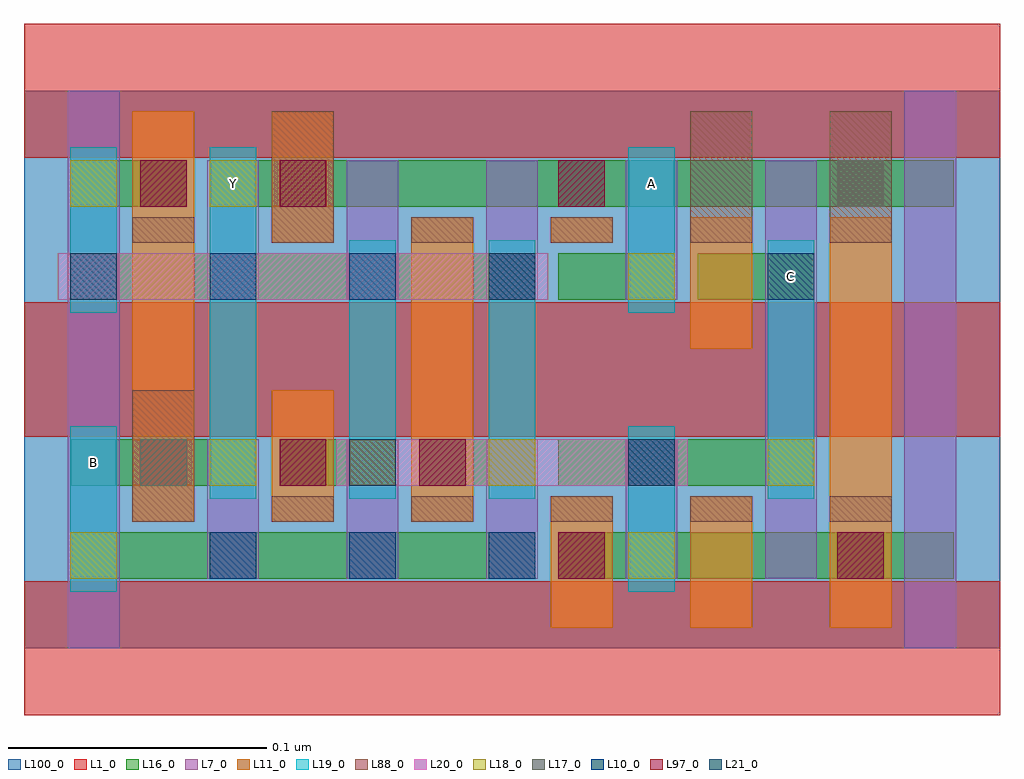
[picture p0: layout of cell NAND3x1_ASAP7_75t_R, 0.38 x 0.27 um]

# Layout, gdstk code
import gdstk
lib = gdstk.Library(unit=1e-6, precision=2.5e-10)
def R(c, l, rs):  # rectangles x0, y0, x1, y1
    for r in rs: c.add(gdstk.rectangle(r[:2], r[2:], *l))
def A(c, l, x, y, w, h, nx, ny, dx, dy):  # array of equal rectangles
    R(c, l, [(x+i*dx, y+j*dy, x+i*dx+w, y+j*dy+h) for i in range(nx) for j in range(ny)])
L1_0 = (1, 0)
L7_0 = (7, 0)
L10_0 = (10, 0)
L11_0 = (11, 0)
L16_0 = (16, 0)
L17_0 = (17, 0)
L18_0 = (18, 0)
L19_0 = (19, 0)
L20_0 = (20, 0)
L21_0 = (21, 0)
L88_0 = (88, 0)
L97_0 = (97, 0)
L100_0 = (100, 0)

nand3x1_asap7_75t_r = lib.new_cell('NAND3x1_ASAP7_75t_R')
A(nand3x1_asap7_75t_r, L1_0, 0, -0.026, 0.378, 0.052, 1, 3, 0, 0.108)
A(nand3x1_asap7_75t_r, L7_0, 0.071, 0.027, 0.02, 0.054, 4, 2, 0.054, 0.108)
R(nand3x1_asap7_75t_r, L7_0, [(0.017,0,0.037,0.108), (0.341,0,0.361,0.108), (0.287,0.027,0.307,0.108), (0.017,0.108,0.037,0.216), (0.287,0.108,0.307,0.189), (0.341,0.108,0.361,0.216)])
A(nand3x1_asap7_75t_r, L10_0, 0.072, 0.027, 0.018, 0.018, 3, 2, 0.054, 0.108)
R(nand3x1_asap7_75t_r, L10_0, [(0.234,0.063,0.252,0.081), (0.288,0.135,0.306,0.153)])
R(nand3x1_asap7_75t_r, L11_0, [(0.204,0.008,0.228,0.059), (0.258,0.008,0.282,0.059), (0.312,0.008,0.336,0.108), (0.042,0.049,0.066,0.108), (0.096,0.049,0.12,0.1), (0.15,0.049,0.174,0.108), (0.042,0.108,0.066,0.208), (0.15,0.108,0.174,0.167), (0.312,0.108,0.336,0.167), (0.258,0.116,0.282,0.167), (0.096,0.157,0.12,0.208), (0.204,0.157,0.228,0.167)])
R(nand3x1_asap7_75t_r, L16_0, [(0.018,0.027,0.198,0.045), (0.207,0.027,0.36,0.045), (0.018,0.063,0.09,0.081), (0.099,0.063,0.144,0.081), (0.153,0.063,0.198,0.081), (0.207,0.063,0.306,0.081), (0.018,0.135,0.198,0.153), (0.207,0.135,0.252,0.153), (0.261,0.135,0.306,0.153), (0.018,0.171,0.063,0.189), (0.072,0.171,0.36,0.189)])
A(nand3x1_asap7_75t_r, L17_0, 0.045, 0.063, 0.018, 0.018, 3, 1, 0.054, 0)
A(nand3x1_asap7_75t_r, L17_0, 0.099, 0.171, 0.018, 0.018, 3, 1, 0.108, 0)
R(nand3x1_asap7_75t_r, L17_0, [(0.207,0.027,0.225,0.045), (0.315,0.027,0.333,0.045), (0.045,0.171,0.063,0.189)])
A(nand3x1_asap7_75t_r, L18_0, 0.072, 0.063, 0.018, 0.018, 3, 1, 0.054, 0)
R(nand3x1_asap7_75t_r, L18_0, [(0.018,0.027,0.036,0.045), (0.234,0.027,0.252,0.045), (0.288,0.063,0.306,0.081), (0.234,0.135,0.252,0.153), (0.288,0.135,0.306,0.153), (0.018,0.171,0.036,0.189), (0.072,0.171,0.09,0.189)])
R(nand3x1_asap7_75t_r, L19_0, [(0.018,0.022,0.036,0.086), (0.234,0.022,0.252,0.086), (0.072,0.058,0.09,0.194), (0.126,0.058,0.144,0.158), (0.18,0.058,0.198,0.158), (0.288,0.058,0.306,0.158), (0.018,0.13,0.036,0.194), (0.234,0.13,0.252,0.194)])
R(nand3x1_asap7_75t_r, L20_0, [(0.121,0.063,0.257,0.081), (0.013,0.135,0.203,0.153)])
R(nand3x1_asap7_75t_r, L21_0, [(0.126,0.063,0.144,0.081), (0.234,0.063,0.252,0.081), (0.018,0.135,0.036,0.153), (0.18,0.135,0.198,0.153)])
A(nand3x1_asap7_75t_r, L88_0, 0.096, 0.049, 0.024, 0.01, 5, 1, 0.054, 0)
R(nand3x1_asap7_75t_r, L88_0, [(0.042,0.049,0.066,0.1), (0.042,0.157,0.066,0.167), (0.096,0.157,0.12,0.208), (0.15,0.157,0.174,0.167), (0.204,0.157,0.228,0.167), (0.258,0.157,0.282,0.208), (0.312,0.157,0.336,0.208)])
R(nand3x1_asap7_75t_r, L97_0, [(0.207,0.027,0.225,0.045), (0.315,0.027,0.333,0.045), (0.099,0.063,0.117,0.081), (0.153,0.063,0.171,0.081), (0.045,0.171,0.063,0.189), (0.099,0.171,0.117,0.189), (0.207,0.171,0.225,0.189)])
R(nand3x1_asap7_75t_r, L100_0, [(0,0,0.378,0.216)])
nand3x1_asap7_75t_r.add(gdstk.Label('Y', (0.081,0.18), layer=19, texttype=251))
nand3x1_asap7_75t_r.add(gdstk.Label('C', (0.297,0.144), layer=19, texttype=251))
nand3x1_asap7_75t_r.add(gdstk.Label('B', (0.027,0.072), layer=19, texttype=251))
nand3x1_asap7_75t_r.add(gdstk.Label('A', (0.243,0.18), layer=19, texttype=251))

lib.write_gds('NAND3x1_ASAP7_75t_R.gds')
